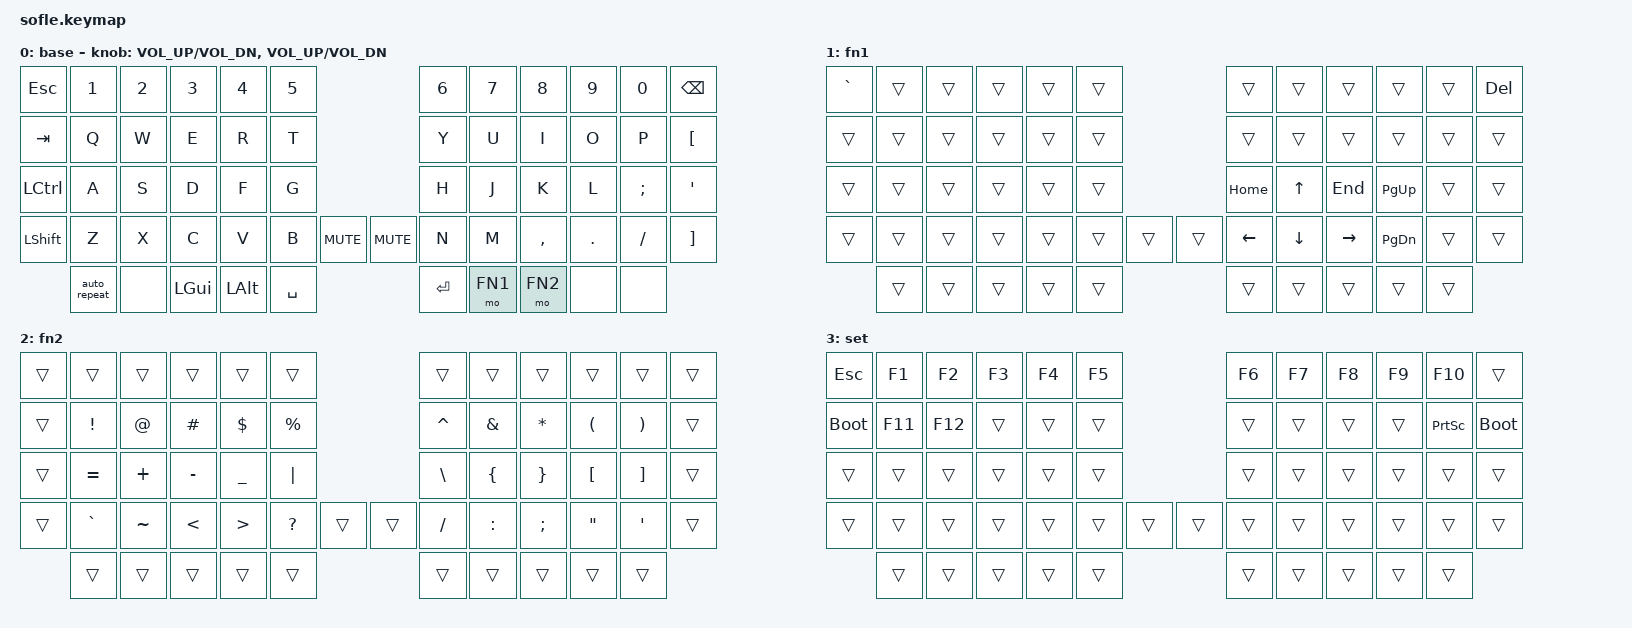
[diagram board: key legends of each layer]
// Copyright 2026 Roman Kuzmitskii (@damex)
// SPDX-License-Identifier: MIT

#include <behaviors.dtsi>
#include <behaviors/auto_repeat.dtsi>
#include <dt-bindings/zmk/keys.h>

#define BASE 0
#define FN1 1
#define FN2 2
#define SET 3

/ {
	conditional_layers {
		compatible = "zmk,conditional-layers";
		set_layer {
			if-layers = <FN1 FN2>;
			then-layer = <SET>;
		};
	};

	keymap {
		compatible = "zmk,keymap";
		default_layer {
			display-name = "base";
// | ESC |  1  |  2  |  3  |  4  |  5  |               |  6  |  7  |  8  |  9  |  0  | BKSP |
// | TAB |  Q  |  W  |  E  |  R  |  T  |               |  Y  |  U  |  I  |  O  |  P  |  [   |
// | CTRL|  A  |  S  |  D  |  F  |  G  |               |  H  |  J  |  K  |  L  |  ;  |  '   |
// |SHIFT|  Z  |  X  |  C  |  V  |  B  | MUTE | | MUTE |  N  |  M  |  ,  |  .  |  /  |  ]   |
//       | RPT |     | WIN | ALT | SPC |               | RET | FN1 | FN2 |     |     |
			bindings = <
&kp ESC        &kp N1     &kp N2     &kp N3     &kp N4     &kp N5                            &kp N6     &kp N7     &kp N8     &kp N9     &kp N0     &kp BSPC
&kp TAB        &kp Q      &kp W      &kp E      &kp R      &kp T                             &kp Y      &kp U      &kp I      &kp O      &kp P      &kp LBKT
&kp LCTRL      &kp A      &kp S      &kp D      &kp F      &kp G                             &kp H      &kp J      &kp K      &kp L      &kp SEMI   &kp SQT
&kp LSHFT      &kp Z      &kp X      &kp C      &kp V      &kp B      &kp C_MUTE &kp C_MUTE  &kp N      &kp M      &kp COMMA  &kp DOT    &kp FSLH   &kp RBKT
               &auto_repeat &none    &kp LGUI   &kp LALT   &kp SPACE                         &kp RET    &mo FN1    &mo FN2    &none      &none
			>;
			sensor-bindings = <&inc_dec_kp C_VOL_UP C_VOL_DN &inc_dec_kp C_VOL_UP C_VOL_DN>;
		};

		fn1_layer {
			display-name = "fn1";
			bindings = <
&kp GRAVE      &trans     &trans     &trans     &trans     &trans                            &trans     &trans     &trans     &trans     &trans     &kp DEL
&trans         &trans     &trans     &trans     &trans     &trans                            &trans     &trans     &trans     &trans     &trans     &trans
&trans         &trans     &trans     &trans     &trans     &trans                            &kp HOME   &kp UP     &kp END    &kp PG_UP  &trans     &trans
&trans         &trans     &trans     &trans     &trans     &trans     &trans     &trans      &kp LEFT   &kp DOWN   &kp RIGHT  &kp PG_DN  &trans     &trans
               &trans     &trans     &trans     &trans     &trans                            &trans     &trans     &trans     &trans     &trans
			>;
		};

		fn2_layer {
			display-name = "fn2";
			bindings = <
&trans         &trans     &trans     &trans     &trans     &trans                            &trans     &trans     &trans     &trans     &trans     &trans
&trans         &kp EXCL   &kp AT     &kp HASH   &kp DLLR   &kp PRCNT                         &kp CARET  &kp AMPS   &kp ASTRK  &kp LPAR   &kp RPAR   &trans
&trans         &kp EQUAL  &kp PLUS   &kp MINUS  &kp UNDER  &kp PIPE                          &kp BSLH   &kp LBRC   &kp RBRC   &kp LBKT   &kp RBKT   &trans
&trans         &kp GRAVE  &kp TILDE  &kp LT     &kp GT     &kp QMARK  &trans     &trans      &kp FSLH   &kp COLON  &kp SEMI   &kp DQT    &kp SQT    &trans
               &trans     &trans     &trans     &trans     &trans                            &trans     &trans     &trans     &trans     &trans
			>;
		};

		set_layer {
			display-name = "set";
			bindings = <
&kp ESC        &kp F1     &kp F2     &kp F3     &kp F4     &kp F5                            &kp F6     &kp F7     &kp F8     &kp F9     &kp F10    &trans
&bootloader    &kp F11    &kp F12    &trans     &trans     &trans                            &trans     &trans     &trans     &trans     &kp PSCRN  &bootloader
&trans         &trans     &trans     &trans     &trans     &trans                            &trans     &trans     &trans     &trans     &trans     &trans
&trans         &trans     &trans     &trans     &trans     &trans     &trans     &trans      &trans     &trans     &trans     &trans     &trans     &trans
               &trans     &trans     &trans     &trans     &trans                            &trans     &trans     &trans     &trans     &trans
			>;
		};
	};
};
